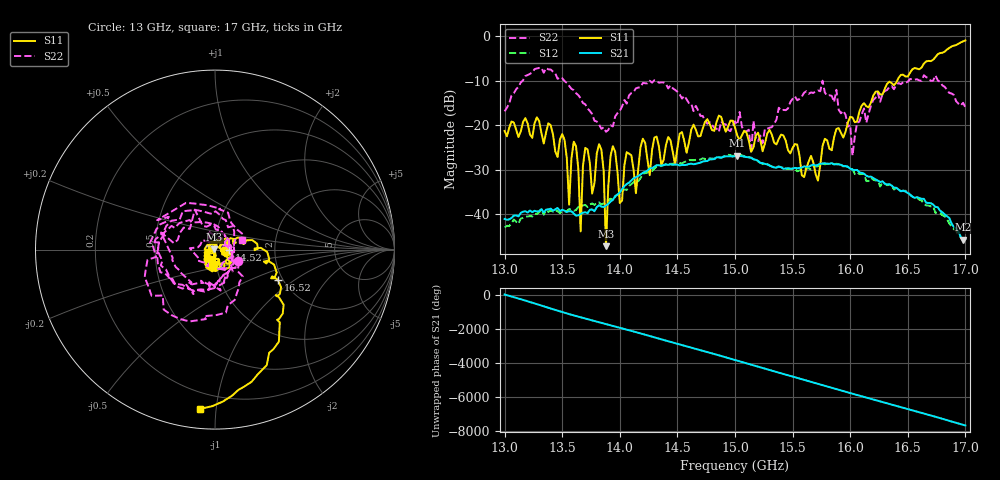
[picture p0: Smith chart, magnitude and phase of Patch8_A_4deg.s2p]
!Keysight Technologies,P9374A,MY57211810,A.19.30.04
!Date: Friday, May 09, 2025 09:20:33
!Correction: S11(Cdelta 2-Port  )
!S21(Cdelta 2-Port  )
!S12(Cdelta 2-Port  )
!S22(Cdelta 2-Port  )
!S2P File: Measurements: S11, S21, S12, S22:
# Hz S  dB  R 50
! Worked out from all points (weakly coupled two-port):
!   201 points, 13 GHz to 17 GHz, reference 50 ohm
!   highest |S21| = -26.88 dB at 15.02 GHz (marker M1); lowest = -45.7 dB at 16.98 GHz (marker M2)
!   lowest |S11| = -47.2 dB at 13.88 GHz (marker M3), VSWR 1.01, Z = 49.6 + j0.229 ohm
!   |S11| at or under -10 dB: start of sweep to 16.41 GHz
!   |S22| runs from -26.8 to -7.1 dB; largest |S21 - S12| = 0.0045
!   S11 on the Smith chart (normalised r, x): 13 GHz: 0.97, -0.17; 14.52 GHz: 1.17, -0.01; 16.52 GHz: 1.89, -0.74; 17 GHz: 0.10, -0.90
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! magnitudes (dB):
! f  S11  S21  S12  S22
! 13 GHz  -21.3  -41.1  -43.0  -16.9
! 13.5 GHz  -22.0  -39.0  -39.4  -9.5
! 13.56 GHz  -37.9  -39.3  -38.8  -11.2
! 13.6 GHz  -23.7  -39.8  -39.3  -12.1
! 13.66 GHz  -43.8  -39.9  -38.0  -14.0
! 13.68 GHz  -29.2  -39.7  -38.0  -15.1
! 13.84 GHz  -25.5  -38.3  -37.8  -20.8
! 13.88 GHz  -47.2  -38.0  -37.5  -21.5
! 13.94 GHz  -24.7  -36.8  -36.9  -20.3
! 14 GHz  -37.5  -35.1  -35.5  -16.8
! 14.06 GHz  -26.1  -33.2  -34.6  -15.2
! 14.14 GHz  -35.3  -31.7  -32.4  -11.7
! 14.34 GHz  -24.9  -29.0  -29.2  -10.5
! 14.52 GHz  -21.9  -29.1  -28.5  -13.1
! 15 GHz  -20.5  -27.0  -26.8  -19.2
! 15.02 GHz  -22.4  -26.9  -26.7  -19.9
! 15.68 GHz  -28.4  -28.9  -29.3  -12.8
! 16.02 GHz  -18.3  -30.0  -29.9  -26.8
! 16.34 GHz  -10.2  -33.3  -33.3  -11.4
! 16.52 GHz  -8.2  -35.6  -35.7  -9.6
! 16.98 GHz  -1.2  -45.7  -46.0  -15.0
! 17 GHz  -1.0  -45.6  -46.0  -16.0
